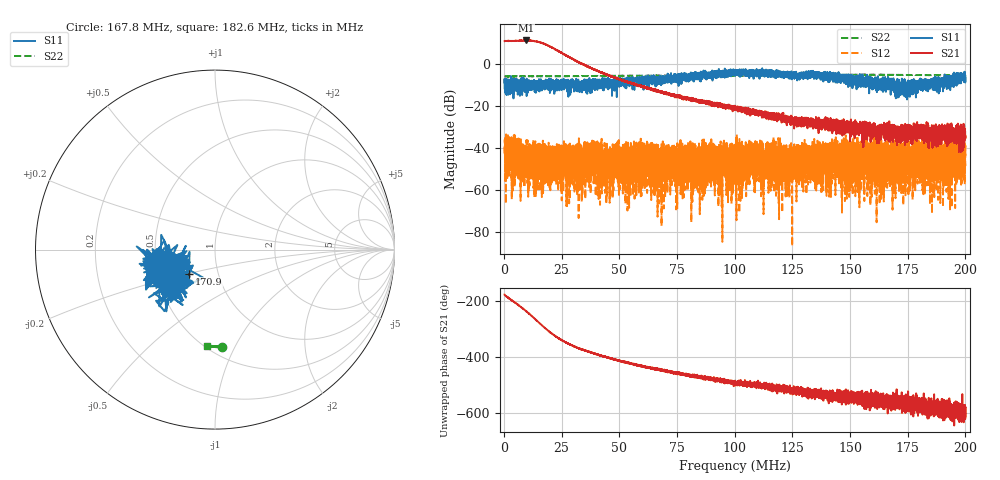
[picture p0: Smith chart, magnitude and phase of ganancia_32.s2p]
# Hz S DB R 50
! CMT, M5065, 19127446, 24.2.4/2
! Date: 10/29/2024 12:32:35 PM
! Data: Format (Calibration Info)
! Freq	S11:dB/Ang(F2)	S21:dB/Ang(F2)	S12:dB/Ang(F2)	S22:dB/Ang(F2)
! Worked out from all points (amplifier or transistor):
!   9000 points, 300 kHz to 200 MHz, reference 50 ohm
!   highest |S21| = 11.0 dB at 9.554 MHz (marker M1)
!   |S21| within 3 dB of that: start of sweep to 20.21 MHz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
!   unconditionally stable (mu >= 1): start of sweep to end of sweep
!   at 33.59 MHz: K = 107.05, MAG = 1.9 dB, |S12| = -50.4 dB
!   at 100.2 MHz: K = 1213.83, MAG = -18.0 dB, |S12| = -52.5 dB
!   at 200 MHz: K = 2264.44, MAG = -32.2 dB, |S12| = -43.7 dB
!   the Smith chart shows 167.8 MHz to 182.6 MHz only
!   S11 on the Smith chart (normalised r, x): 167.8 MHz: 0.50, -0.20; 170.9 MHz: 0.72, -0.20; 182.6 MHz: 0.46, -0.19
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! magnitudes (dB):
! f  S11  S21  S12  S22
! 300 kHz  -8.9  10.7  -39.4  -6.0
! 9.554 MHz  -11.4  11.0  -43.8  -5.9
! 17.83 MHz  -11.1  9.2  -42.5  -5.9
! 30.28 MHz  -10.2  1.9  -46.1  -5.9
! 32.26 MHz  -9.1  0.7  -43.4  -5.9
! 33.59 MHz  -8.8  0.0  -50.4  -5.9
! 37.43 MHz  -8.5  -1.9  -44.2  -5.8
! 43.4 MHz  -9.8  -4.8  -54.4  -5.8
! 48.34 MHz  -8.0  -6.9  -46.8  -5.8
! 66.87 MHz  -9.6  -13.0  -44.6  -5.7
! 100.2 MHz  -5.6  -20.8  -52.5  -5.6
! 110.3 MHz  -3.4  -24.3  -42.2  -5.6
! 112.3 MHz  -4.1  -25.1  -50.4  -5.6
! 116.7 MHz  -3.6  -25.2  -41.2  -5.5
! 118.6 MHz  -4.2  -26.3  -57.7  -5.5
! 133.4 MHz  -4.4  -27.0  -44.2  -5.3
! 166.7 MHz  -10.0  -34.2  -38.7  -5.3
! 167.8 MHz  -9.0  -34.4  -41.8  -5.3
! 170.9 MHz  -14.1  -32.7  -57.6  -5.3
! 182.6 MHz  -8.2  -34.0  -49.1  -5.4
! 189.9 MHz  -8.1  -34.8  -39.0  -5.4
! 200 MHz  -5.8  -35.0  -43.7  -5.5
